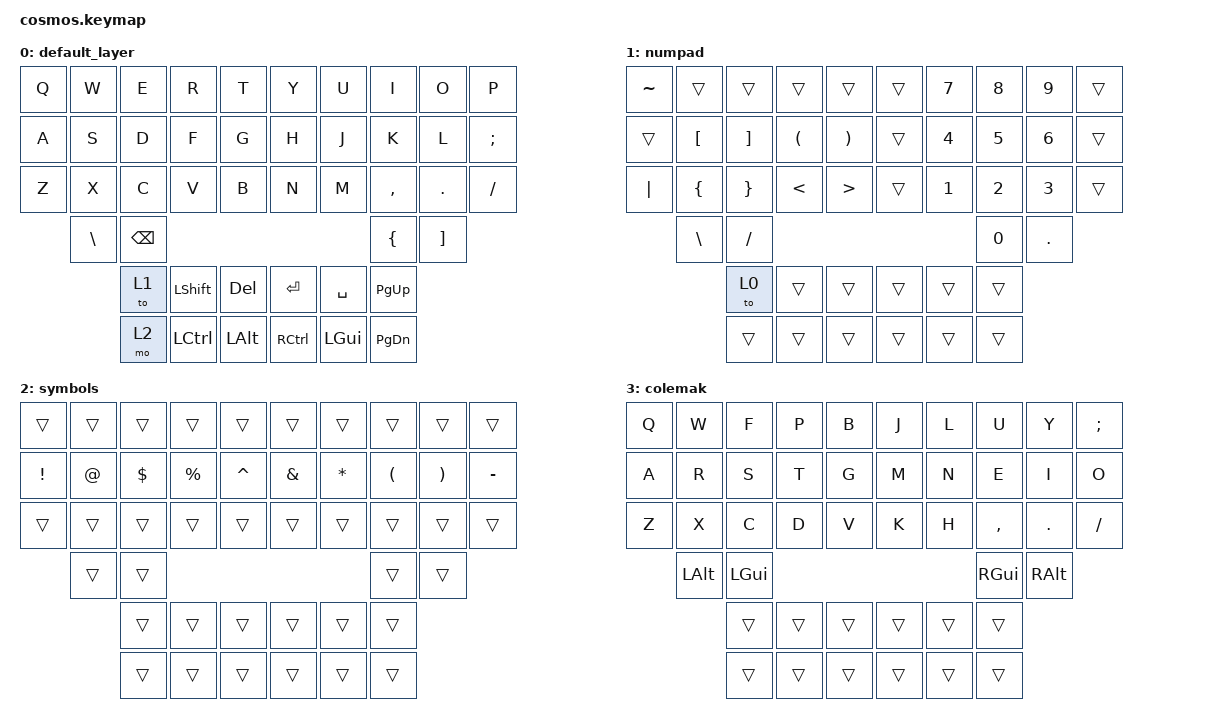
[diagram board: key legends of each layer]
#include <behaviors.dtsi>
#include <dt-bindings/zmk/keys.h>

#define BASE 0

&sl { release-after-ms = <5000>; };

&kscan0 {
    debounce-press-ms = <30>;
    debounce-release-ms = <30>;
};

/ {
    keymap {
        compatible = "zmk,keymap";

        default_layer {
            bindings = <
&kp Q  &kp W     &kp E     &kp R           &kp T           &kp Y      &kp U      &kp I      &kp O     &kp P
&kp A  &kp S     &kp D     &kp F           &kp G           &kp H      &kp J      &kp K      &kp L     &kp SEMI
&kp Z  &kp X     &kp C     &kp V           &kp B           &kp N      &kp M      &kp COMMA  &kp DOT   &kp FSLH
       &kp BSLH  &kp BSPC                                                        &kp LBRC   &kp RBKT
                 &to 1     &kp LEFT_SHIFT  &kp DEL         &kp ENTER  &kp SPACE  &kp PG_UP
                 &mo 2     &kp LCTRL       &kp LALT        &kp RCTRL  &kp LGUI   &kp PG_DN
            >;
        };

        numpad {
            bindings = <
&kp TILDE  &trans          &trans           &trans                &trans                       &trans  &kp N7  &kp N8  &kp N9   &trans
&trans     &kp LBKT        &kp RBKT         &kp LEFT_PARENTHESIS  &kp RIGHT_PARENTHESIS        &trans  &kp N4  &kp N5  &kp N6   &trans
&kp PIPE   &kp LEFT_BRACE  &kp RIGHT_BRACE  &kp LESS_THAN         &kp GREATER_THAN             &trans  &kp N1  &kp N2  &kp N3   &trans
           &kp BACKSLASH   &kp SLASH                                                                           &kp N0  &kp DOT
                           &to 0            &trans                &trans                       &trans  &trans  &trans
                           &trans           &trans                &trans                       &trans  &trans  &trans
            >;
        };

        symbols {
            bindings = <
&trans    &trans  &trans      &trans       &trans           &trans    &trans        &trans                &trans                 &trans
&kp EXCL  &kp AT  &kp DOLLAR  &kp PERCENT  &kp CARET        &kp AMPS  &kp ASTERISK  &kp LEFT_PARENTHESIS  &kp RIGHT_PARENTHESIS  &kp MINUS
&trans    &trans  &trans      &trans       &trans           &trans    &trans        &trans                &trans                 &trans
          &trans  &trans                                                            &trans                &trans
                  &trans      &trans       &trans           &trans    &trans        &trans
                  &trans      &trans       &trans           &trans    &trans        &trans
            >;
        };

        colemak {
            bindings = <
&kp Q  &kp W     &kp F     &kp P   &kp B         &kp J   &kp L   &kp U      &kp Y     &kp SEMI
&kp A  &kp R     &kp S     &kp T   &kp G         &kp M   &kp N   &kp E      &kp I     &kp O
&kp Z  &kp X     &kp C     &kp D   &kp V         &kp K   &kp H   &kp COMMA  &kp DOT   &kp FSLH
       &kp LALT  &kp LGUI                                        &kp RGUI   &kp RALT
                 &trans    &trans  &trans        &trans  &trans  &trans
                 &trans    &trans  &trans        &trans  &trans  &trans
            >;
        };
    };
};
